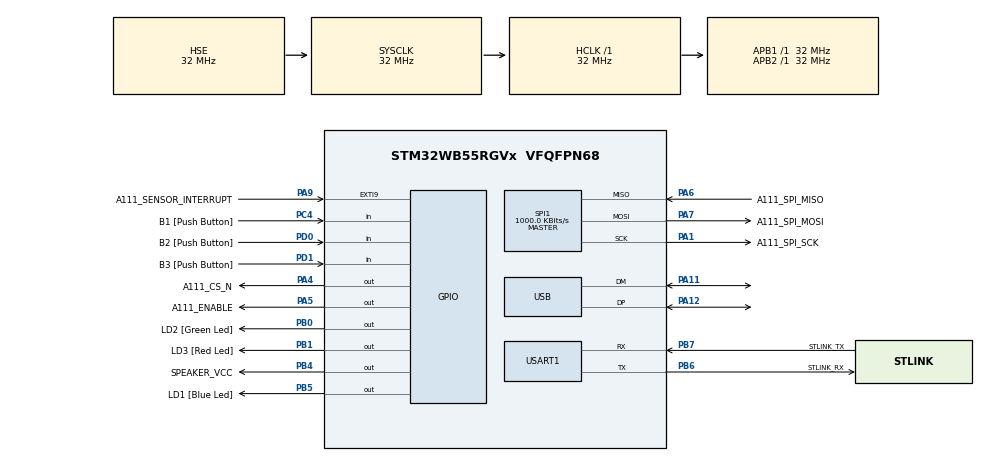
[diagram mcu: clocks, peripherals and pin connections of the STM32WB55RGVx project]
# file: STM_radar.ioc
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Mcu.Family=STM32WB
Mcu.Name=STM32WB55RGVx
Mcu.Package=VFQFPN68
NVIC.EXTI9_5_IRQn=true\:0\:0\:false\:false\:true\:true\:true\:true
NVIC.PriorityGroup=NVIC_PRIORITYGROUP_4
OSC_IN.Mode=HSE-External-Oscillator
OSC_IN.Signal=RCC_OSC_IN
OSC_OUT.Mode=HSE-External-Oscillator
OSC_OUT.Signal=RCC_OSC_OUT
PA1.GPIO_Label=A111_SPI_SCK
PA1.GPIO_Speed=GPIO_SPEED_FREQ_VERY_HIGH
PA1.Mode=Full_Duplex_Master
PA1.Signal=SPI1_SCK
PA11.Mode=Device
PA11.Signal=USB_DM
PA12.Mode=Device
PA12.Signal=USB_DP
PA13.GPIO_Label=JTMS
PA13.Mode=Trace_Asynchronous_SW
PA13.Signal=SYS_JTMS-SWDIO
PA14.GPIO_Label=JTCK
PA14.Mode=Trace_Asynchronous_SW
PA14.Signal=SYS_JTCK-SWCLK
PA4.GPIO_Label=A111_CS_N
PA4.GPIO_Speed=GPIO_SPEED_FREQ_HIGH
PA4.Signal=GPIO_Output
PA5.GPIO_Label=A111_ENABLE
PA5.GPIO_ModeDefaultOutputPP=GPIO_MODE_OUTPUT_PP
PA5.GPIO_PuPd=GPIO_NOPULL
PA5.GPIO_Speed=GPIO_SPEED_FREQ_HIGH
PA5.Signal=GPIO_Output
PA6.GPIO_Label=A111_SPI_MISO
PA6.GPIO_PuPd=GPIO_NOPULL
PA6.GPIO_Speed=GPIO_SPEED_FREQ_VERY_HIGH
PA6.Mode=Full_Duplex_Master
PA6.Signal=SPI1_MISO
PA7.GPIO_Label=A111_SPI_MOSI
PA7.GPIO_Speed=GPIO_SPEED_FREQ_VERY_HIGH
PA7.Mode=Full_Duplex_Master
PA7.Signal=SPI1_MOSI
PA9.GPIO_Label=A111_SENSOR_INTERRUPT
PA9.Signal=GPXTI9
PB0.GPIO_Label=LD2 [Green Led]
PB0.GPIO_Speed=GPIO_SPEED_FREQ_LOW
PB0.Signal=GPIO_Output
PB1.GPIO_Label=LD3 [Red Led]
PB1.Signal=GPIO_Output
PB3.GPIO_Label=JTDO
PB3.Mode=Trace_Asynchronous_SW
PB3.Signal=SYS_JTDO-SWO
PB4.GPIO_Label=SPEAKER_VCC
PB4.GPIO_Speed=GPIO_SPEED_FREQ_LOW
PB4.PinState=GPIO_PIN_RESET
PB4.Signal=GPIO_Output
PB5.GPIO_Label=LD1 [Blue Led]
PB5.Signal=GPIO_Output
PB6.GPIO_Label=STLINK_RX
PB6.GPIO_PuPd=GPIO_PULLUP
PB6.Mode=Asynchronous
PB6.Signal=USART1_TX
PB7.GPIO_Label=STLINK_TX
PB7.GPIO_PuPd=GPIO_PULLUP
PB7.Mode=Asynchronous
PB7.Signal=USART1_RX
PC13.Mode=SYS_WakeUp1
PC13.Signal=SYS_WKUP2
PC14-OSC32_IN.Mode=LSE-External-Oscillator
PC14-OSC32_IN.Signal=RCC_OSC32_IN
PC15-OSC32_OUT.Mode=LSE-External-Oscillator
PC15-OSC32_OUT.Signal=RCC_OSC32_OUT
PC4.GPIO_Label=B1 [Push Button]
PC4.Signal=GPIO_Input
PD0.GPIO_Label=B2 [Push Button]
PD0.Signal=GPIO_Input
PD1.GPIO_Label=B3 [Push Button]
PD1.Signal=GPIO_Input
ProjectManager.HeapSize=0x200
ProjectManager.StackSize=0x400
ProjectManager.TargetToolchain=STM32CubeIDE
RCC.ADCFreq_Value=48000000
RCC.AHB2CLKDivider=RCC_SYSCLK_DIV2
RCC.AHBFreq_Value=32000000
RCC.APB1Freq_Value=32000000
RCC.APB1TimFreq_Value=32000000
RCC.APB2Freq_Value=32000000
RCC.APB2TimFreq_Value=32000000
RCC.APB3Freq_Value=16000000
RCC.CortexFreq_Value=32000000
RCC.HCLKFreq_Value=32000000
RCC.HSE_VALUE=32000000
RCC.HSI48_VALUE=48000000
RCC.HSI_VALUE=16000000
RCC.PLLN=32
RCC.PLLSAI1N=24
RCC.SMPSCLockSelectionVirtual=RCC_SMPSCLKSOURCE_HSI
RCC.SMPSCLockSelectionVirtualVirtual=RCC_SMPSCLKSOURCE_HSI
RCC.SMPSDivider=1
RCC.SYSCLKFreq_VALUE=32000000
RCC.SYSCLKSource=RCC_SYSCLKSOURCE_HSE
RCC.USBFreq_Value=48000000
RCC.VCOOutputFreq_Value=128000000
SPI1.BaudRatePrescaler=SPI_BAUDRATEPRESCALER_32
SPI1.CalculateBaudRate=1000.0 KBits/s
SPI1.DataSize=SPI_DATASIZE_8BIT
SPI1.Direction=SPI_DIRECTION_2LINES
SPI1.Mode=SPI_MODE_MASTER
SPI1.VirtualType=VM_MASTER
USART1.VirtualMode-Asynchronous=VM_ASYNC
USART1.WordLength=WORDLENGTH_8B
board=P-NUCLEO-WB55-Nucleo

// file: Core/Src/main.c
/* USER CODE BEGIN Header */
/**
  ******************************************************************************
  * @file           : main.c
  * @brief          : Main program body
  ******************************************************************************
  * @attention
  *
  * <h2><center>&copy; Copyright (c) 2022 STMicroelectronics.
  * All rights reserved.</center></h2>
  *
  * This software component is licensed by ST under BSD 3-Clause license,
  * the "License"; You may not use this file except in compliance with the
  * License. You may obtain a copy of the License at:
  *                        opensource.org/licenses/BSD-3-Clause
  *
  ******************************************************************************
  */
/* USER CODE END Header */
#include "main.h"

/* USER CODE BEGIN Includes */
#include "stdio.h"
#include "acc_hal_integration.h"
#include "detector.h"
#include "string.h"
/* USER CODE END Includes */

SPI_HandleTypeDef hspi1;

UART_HandleTypeDef huart1;

PCD_HandleTypeDef hpcd_USB_FS;

/* USER CODE BEGIN PV */
int detector_result = EXIT_FAILURE;
int detector_result_init = EXIT_FAILURE;
int detector_result_deactiv = EXIT_FAILURE;
static uint8_t counter = 0;
static float average_distance = 0;
static float distance = 0;
/* USER CODE END PV */

void SystemClock_Config(void);
static void MX_GPIO_Init(void);
static void MX_USART1_UART_Init(void);
static void MX_USB_PCD_Init(void);
static void MX_SPI1_Init(void);
/* USER CODE BEGIN PFP */
static void Send_Distance_UART(float distance);
/* USER CODE END PFP */

int main(void)
{

  /* MCU Configuration--------------------------------------------------------*/

  /* Reset of all peripherals, Initializes the Flash interface and the Systick. */
  HAL_Init();

  /* Configure the system clock */
  SystemClock_Config();

  /* Initialize all configured peripherals */
  MX_GPIO_Init();
  MX_USART1_UART_Init();
  MX_USB_PCD_Init();
  MX_SPI1_Init();
  /* USER CODE BEGIN 2 */
  detector_result_init = Detector_Init();
  /* USER CODE END 2 */

  /* Infinite loop */
  /* USER CODE BEGIN WHILE */
  while (1)
  {
	  if (EXIT_SUCCESS == detector_result_init)
	  {
		  detector_result = Detector_Presence();
		  distance = Get_Detector_Distance();

		  if (EXIT_SUCCESS != detector_result)
		  {
			  counter = 0;
			  detector_result_deactiv = Detector_Deactivate();
		  }

		  if (EXIT_SUCCESS == detector_result_deactiv)
		  {
			  detector_result_init = Detector_Init();
		  }

		  if (distance != 9999)
		  {
			  counter++;
			  average_distance = Average_Distance(distance);
		  }

		  if (counter > NUMBER_OF_SAMPLES)
		  {
			  Send_Distance_UART(average_distance);
			  counter = 0;
		  }

	  }
	  else
	  {
		  detector_result_init = Detector_Init();

//		  detector_result_deactiv = Detector_Deactivate();
//		  counter = 0;
//		  if (EXIT_SUCCESS == detector_result_deactiv)
//		  {
//			  detector_result_init = Detector_Init();
//		  }
	  }

    /* USER CODE END WHILE */

  }
}

void SystemClock_Config(void)
{
  RCC_OscInitTypeDef RCC_OscInitStruct = {0};
  RCC_ClkInitTypeDef RCC_ClkInitStruct = {0};
  RCC_PeriphCLKInitTypeDef PeriphClkInitStruct = {0};

  /** Macro to configure the PLL multiplication factor
  */
  __HAL_RCC_PLL_PLLM_CONFIG(RCC_PLLM_DIV1);
  /** Macro to configure the PLL clock source
  */
  __HAL_RCC_PLL_PLLSOURCE_CONFIG(RCC_PLLSOURCE_MSI);
  /** Configure LSE Drive Capability
  */
  HAL_PWR_EnableBkUpAccess();
  __HAL_RCC_LSEDRIVE_CONFIG(RCC_LSEDRIVE_LOW);
  /** Configure the main internal regulator output voltage
  */
  __HAL_PWR_VOLTAGESCALING_CONFIG(PWR_REGULATOR_VOLTAGE_SCALE1);
  /** Initializes the RCC Oscillators according to the specified parameters
  * in the RCC_OscInitTypeDef structure.
  */
  RCC_OscInitStruct.OscillatorType = RCC_OSCILLATORTYPE_HSI|RCC_OSCILLATORTYPE_HSE
                              |RCC_OSCILLATORTYPE_LSE|RCC_OSCILLATORTYPE_MSI;
  RCC_OscInitStruct.HSEState = RCC_HSE_ON;
  RCC_OscInitStruct.LSEState = RCC_LSE_ON;
  RCC_OscInitStruct.HSIState = RCC_HSI_ON;
  RCC_OscInitStruct.MSIState = RCC_MSI_ON;
  RCC_OscInitStruct.HSICalibrationValue = RCC_HSICALIBRATION_DEFAULT;
  RCC_OscInitStruct.MSICalibrationValue = RCC_MSICALIBRATION_DEFAULT;
  RCC_OscInitStruct.MSIClockRange = RCC_MSIRANGE_6;
  RCC_OscInitStruct.PLL.PLLState = RCC_PLL_NONE;
  if (HAL_RCC_OscConfig(&RCC_OscInitStruct) != HAL_OK)
  {
    Error_Handler();
  }
  /** Configure the SYSCLKSource, HCLK, PCLK1 and PCLK2 clocks dividers
  */
  RCC_ClkInitStruct.ClockType = RCC_CLOCKTYPE_HCLK4|RCC_CLOCKTYPE_HCLK2
                              |RCC_CLOCKTYPE_HCLK|RCC_CLOCKTYPE_SYSCLK
                              |RCC_CLOCKTYPE_PCLK1|RCC_CLOCKTYPE_PCLK2;
  RCC_ClkInitStruct.SYSCLKSource = RCC_SYSCLKSOURCE_HSE;
  RCC_ClkInitStruct.AHBCLKDivider = RCC_SYSCLK_DIV1;
  RCC_ClkInitStruct.APB1CLKDivider = RCC_HCLK_DIV1;
  RCC_ClkInitStruct.APB2CLKDivider = RCC_HCLK_DIV1;
  RCC_ClkInitStruct.AHBCLK2Divider = RCC_SYSCLK_DIV2;
  RCC_ClkInitStruct.AHBCLK4Divider = RCC_SYSCLK_DIV1;

  if (HAL_RCC_ClockConfig(&RCC_ClkInitStruct, FLASH_LATENCY_1) != HAL_OK)
  {
    Error_Handler();
  }
  /** Initializes the peripherals clocks
  */
  PeriphClkInitStruct.PeriphClockSelection = RCC_PERIPHCLK_SMPS|RCC_PERIPHCLK_USART1
                              |RCC_PERIPHCLK_USB;
  PeriphClkInitStruct.PLLSAI1.PLLN = 24;
  PeriphClkInitStruct.PLLSAI1.PLLP = RCC_PLLP_DIV2;
  PeriphClkInitStruct.PLLSAI1.PLLQ = RCC_PLLQ_DIV2;
  PeriphClkInitStruct.PLLSAI1.PLLR = RCC_PLLR_DIV2;
  PeriphClkInitStruct.PLLSAI1.PLLSAI1ClockOut = RCC_PLLSAI1_USBCLK;
  PeriphClkInitStruct.Usart1ClockSelection = RCC_USART1CLKSOURCE_PCLK2;
  PeriphClkInitStruct.UsbClockSelection = RCC_USBCLKSOURCE_PLLSAI1;
  PeriphClkInitStruct.SmpsClockSelection = RCC_SMPSCLKSOURCE_HSI;
  PeriphClkInitStruct.SmpsDivSelection = RCC_SMPSCLKDIV_RANGE0;
  if (HAL_RCCEx_PeriphCLKConfig(&PeriphClkInitStruct) != HAL_OK)
  {
    Error_Handler();
  }
  /** Enable MSI Auto calibration
  */
  HAL_RCCEx_EnableMSIPLLMode();
}

static void MX_SPI1_Init(void)
{

  /* SPI1 parameter configuration*/
  hspi1.Instance = SPI1;
  hspi1.Init.Mode = SPI_MODE_MASTER;
  hspi1.Init.Direction = SPI_DIRECTION_2LINES;
  hspi1.Init.DataSize = SPI_DATASIZE_8BIT;
  hspi1.Init.CLKPolarity = SPI_POLARITY_LOW;
  hspi1.Init.CLKPhase = SPI_PHASE_1EDGE;
  hspi1.Init.NSS = SPI_NSS_SOFT;
  hspi1.Init.BaudRatePrescaler = SPI_BAUDRATEPRESCALER_32;
  hspi1.Init.FirstBit = SPI_FIRSTBIT_MSB;
  hspi1.Init.TIMode = SPI_TIMODE_DISABLE;
  hspi1.Init.CRCCalculation = SPI_CRCCALCULATION_DISABLE;
  hspi1.Init.CRCPolynomial = 7;
  hspi1.Init.CRCLength = SPI_CRC_LENGTH_DATASIZE;
  hspi1.Init.NSSPMode = SPI_NSS_PULSE_ENABLE;
  if (HAL_SPI_Init(&hspi1) != HAL_OK)
  {
    Error_Handler();
  }

}

static void MX_USART1_UART_Init(void)
{

  huart1.Instance = USART1;
  huart1.Init.BaudRate = 115200;
  huart1.Init.WordLength = UART_WORDLENGTH_8B;
  huart1.Init.StopBits = UART_STOPBITS_1;
  huart1.Init.Parity = UART_PARITY_NONE;
  huart1.Init.Mode = UART_MODE_TX_RX;
  huart1.Init.HwFlowCtl = UART_HWCONTROL_NONE;
  huart1.Init.OverSampling = UART_OVERSAMPLING_16;
  huart1.Init.OneBitSampling = UART_ONE_BIT_SAMPLE_DISABLE;
  huart1.Init.ClockPrescaler = UART_PRESCALER_DIV1;
  huart1.AdvancedInit.AdvFeatureInit = UART_ADVFEATURE_NO_INIT;
  if (HAL_UART_Init(&huart1) != HAL_OK)
  {
    Error_Handler();
  }
  if (HAL_UARTEx_SetTxFifoThreshold(&huart1, UART_TXFIFO_THRESHOLD_1_8) != HAL_OK)
  {
    Error_Handler();
  }
  if (HAL_UARTEx_SetRxFifoThreshold(&huart1, UART_RXFIFO_THRESHOLD_1_8) != HAL_OK)
  {
    Error_Handler();
  }
  if (HAL_UARTEx_DisableFifoMode(&huart1) != HAL_OK)
  {
    Error_Handler();
  }

}

static void MX_USB_PCD_Init(void)
{

  hpcd_USB_FS.Instance = USB;
  hpcd_USB_FS.Init.dev_endpoints = 8;
  hpcd_USB_FS.Init.speed = PCD_SPEED_FULL;
  hpcd_USB_FS.Init.phy_itface = PCD_PHY_EMBEDDED;
  hpcd_USB_FS.Init.Sof_enable = DISABLE;
  hpcd_USB_FS.Init.low_power_enable = DISABLE;
  hpcd_USB_FS.Init.lpm_enable = DISABLE;
  hpcd_USB_FS.Init.battery_charging_enable = DISABLE;
  if (HAL_PCD_Init(&hpcd_USB_FS) != HAL_OK)
  {
    Error_Handler();
  }

}

static void MX_GPIO_Init(void)
{
  GPIO_InitTypeDef GPIO_InitStruct = {0};

  /* GPIO Ports Clock Enable */
  __HAL_RCC_GPIOC_CLK_ENABLE();
  __HAL_RCC_GPIOA_CLK_ENABLE();
  __HAL_RCC_GPIOB_CLK_ENABLE();
  __HAL_RCC_GPIOD_CLK_ENABLE();

  /*Configure GPIO pin Output Level */
  HAL_GPIO_WritePin(GPIOA, A111_CS_N_Pin|A111_ENABLE_Pin, GPIO_PIN_RESET);

  /*Configure GPIO pin Output Level */
  HAL_GPIO_WritePin(GPIOB, LD2_Pin|LD3_Pin|SPEAKER_VCC_Pin|LD1_Pin, GPIO_PIN_RESET);

  /*Configure GPIO pins : A111_CS_N_Pin A111_ENABLE_Pin */
  GPIO_InitStruct.Pin = A111_CS_N_Pin|A111_ENABLE_Pin;
  GPIO_InitStruct.Mode = GPIO_MODE_OUTPUT_PP;
  GPIO_InitStruct.Pull = GPIO_NOPULL;
  GPIO_InitStruct.Speed = GPIO_SPEED_FREQ_HIGH;
  HAL_GPIO_Init(GPIOA, &GPIO_InitStruct);

  /*Configure GPIO pin : A111_SENSOR_INTERRUPT_Pin */
  GPIO_InitStruct.Pin = A111_SENSOR_INTERRUPT_Pin;
  GPIO_InitStruct.Mode = GPIO_MODE_IT_RISING;
  GPIO_InitStruct.Pull = GPIO_NOPULL;
  HAL_GPIO_Init(A111_SENSOR_INTERRUPT_GPIO_Port, &GPIO_InitStruct);

  /*Configure GPIO pin : B1_Pin */
  GPIO_InitStruct.Pin = B1_Pin;
  GPIO_InitStruct.Mode = GPIO_MODE_INPUT;
  GPIO_InitStruct.Pull = GPIO_NOPULL;
  HAL_GPIO_Init(B1_GPIO_Port, &GPIO_InitStruct);

  /*Configure GPIO pins : LD2_Pin LD3_Pin SPEAKER_VCC_Pin LD1_Pin */
  GPIO_InitStruct.Pin = LD2_Pin|LD3_Pin|SPEAKER_VCC_Pin|LD1_Pin;
  GPIO_InitStruct.Mode = GPIO_MODE_OUTPUT_PP;
  GPIO_InitStruct.Pull = GPIO_NOPULL;
  GPIO_InitStruct.Speed = GPIO_SPEED_FREQ_LOW;
  HAL_GPIO_Init(GPIOB, &GPIO_InitStruct);

  /*Configure GPIO pins : B2_Pin B3_Pin */
  GPIO_InitStruct.Pin = B2_Pin|B3_Pin;
  GPIO_InitStruct.Mode = GPIO_MODE_INPUT;
  GPIO_InitStruct.Pull = GPIO_NOPULL;
  HAL_GPIO_Init(GPIOD, &GPIO_InitStruct);

  /* EXTI interrupt init*/
  HAL_NVIC_SetPriority(EXTI9_5_IRQn, 0, 0);
  HAL_NVIC_EnableIRQ(EXTI9_5_IRQn);

}

/* USER CODE BEGIN 4 */
static void Send_Distance_UART(float distance)
{
	if (distance < 9999)
	{
		distance = distance * 100;
		char uart_buf[23];
		sprintf(uart_buf, "Distance: %.1f [cm]\r\n", (distance));
		HAL_UART_Transmit(&huart1, (uint8_t *)uart_buf, strlen(uart_buf), 100);
	}

	if (distance < 50)
	{
		HAL_GPIO_WritePin(SPEAKER_VCC_GPIO_Port, SPEAKER_VCC_Pin, GPIO_PIN_SET);
	}
	else
	{
		HAL_GPIO_WritePin(SPEAKER_VCC_GPIO_Port, SPEAKER_VCC_Pin, GPIO_PIN_RESET);
	}
}
/* USER CODE END 4 */

void Error_Handler(void)
{
  __disable_irq();
  while (1)
  {
  }
}

/************************ (C) COPYRIGHT STMicroelectronics *****END OF FILE****/
